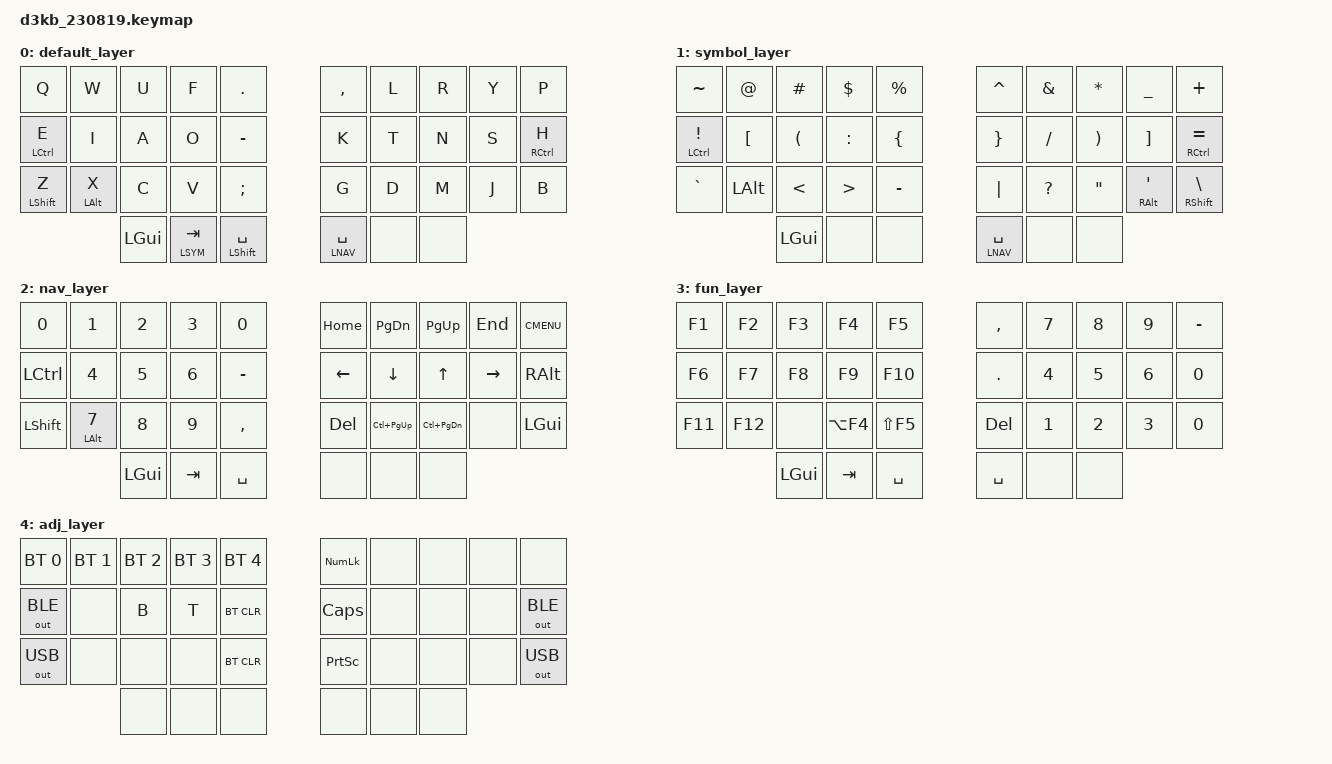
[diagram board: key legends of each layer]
#include <behaviors.dtsi>
#include <dt-bindings/zmk/keys.h>
#include <dt-bindings/zmk/bt.h>
#include <dt-bindings/zmk/outputs.h>

#define LDEF 0
#define LSYM 1
#define LNAV 2
#define LFUN 3
#define LADJ 4

&mt {
    tapping-term-ms = <175>;
    flavor = "tap-preferred";
};

&lt {
    tapping-term-ms = <175>;
    flavor = "balanced";
};


&caps_word {
    continue-list = <UNDERSCORE MINUS BACKSPACE>;
};

/ {
    combos{
        compatible = "zmk,combos";
        timeout-ms = <200>;
        combo_left_thum_r {
            key-positions = <31 32>;
            bindings = <&mo LFUN>;
        };
        combo_left_thum_l {
            key-positions = <30 31>;
            bindings = <&caps_word>;
        };
        combo_left_thum_all {
            key-positions = <30 31 32>;
            bindings = <&sl LADJ>;
        };
        //combo_left_col {
        //    key-positions = <0 10 20>;
        //    bindings = <&sl LADJ>;
        //};
        combo_left_top {
            key-positions = <0 1>;
            bindings = <&kp ESC>;
        };
        combo_left_mid_l {
            key-positions = <11 12>;
            bindings = <&mo LFUN>;
        };
        //combo_left_mid_r {
        //    key-positions = <12 13>;
        //    bindings = <&caps_word>;
        //};
        combo_right_mid_l {
            key-positions = <16 17>;
            bindings = <&kp BSPC>;
        };
        combo_right_mid_r {
            key-positions = <17 18>;
            bindings = <&kp RET>;
        };
    };

    behaviors {
    };

    keymap {
        compatible = "zmk,keymap";

        default_layer {
            bindings = <
                &kp Q       &kp W       &kp U    &kp F         &kp DOT            &kp COMMA      &kp L &kp R     &kp Y      &kp P 
                &mt LCTRL E &kp I       &kp A    &kp O         &kp MINUS          &kp K          &kp T &kp N     &kp S      &mt RCTRL H 
                &mt LSHFT Z &mt LALT X  &kp C    &kp V         &kp SEMI           &kp G          &kp D &kp M     &kp J      &kp B
                                        &kp LGUI &lt LSYM TAB  &mt LSHFT SPACE    &lt LNAV SPACE &none &none 
            >;
        };

        symbol_layer {
            bindings = <
                &kp TILDE       &kp AT        &kp HASH &kp DLLR  &kp PRCNT        &kp CARET      &kp AMPS       &kp ASTRK &kp UNDER    &kp PLUS 
                &mt LCTRL EXCL  &kp LBKT      &kp LPAR &kp COLON &kp LBRC         &kp RBRC       &kp SLASH      &kp RPAR  &kp RBKT     &mt RCTRL EQUAL 
                &kp GRAVE       &kp LALT      &kp LT   &kp GT    &kp MINUS        &kp PIPE       &kp QMARK      &kp DQT   &mt RALT SQT &mt RSHFT BSLH 
                                              &kp LGUI &none     &none            &lt LNAV SPACE &none          &none 
            >;
        };

        nav_layer {
            bindings = <
                &kp N0    &kp N1      &kp N2    &kp N3     &kp N0            &kp HOME    &kp PG_DN     &kp PG_UP     &kp END    &kp K_CMENU
                &kp LCTRL &kp N4      &kp N5    &kp N6     &kp MINUS         &kp LEFT    &kp DOWN      &kp UP        &kp RIGHT  &kp RALT
                &kp LSHFT &mt LALT N7 &kp N8    &kp N9     &kp COMMA         &kp DEL     &kp LC(PG_UP) &kp LC(PG_DN) &none      &kp LGUI
                                      &kp LGUI  &kp TAB    &kp SPACE         &none       &none         &none 
            >;
        };

        fun_layer {
            bindings = <
                &kp F1  &kp F2  &kp F3   &kp F4        &kp F5         &kp COMMA   &kp N7 &kp N8 &kp N9 &kp MINUS
                &kp F6  &kp F7  &kp F8   &kp F9        &kp F10        &kp DOT     &kp N4 &kp N5 &kp N6 &kp N0
                &kp F11 &kp F12 &none    &kp LA(F4)    &kp LS(F5)     &kp DEL     &kp N1 &kp N2 &kp N3 &kp N0
                                &kp LGUI &kp TAB       &kp SPACE      &kp SPACE   &none  &none 
            >;
        };


        adj_layer {
            bindings = <
                &bt  BT_SEL 0    &bt BT_SEL 1 &bt BT_SEL 2 &bt BT_SEL 3 &bt BT_SEL 4         &kp KP_NUM  &none     &none     &none    &none
                &out OUT_BLE     &none        &kp B        &kp T        &bt BT_CLR           &kp CAPS    &none     &none     &none    &out OUT_BLE
                &out OUT_USB     &none        &none        &none        &bt BT_CLR           &kp PSCRN   &none     &none     &none    &out OUT_USB
                                              &none        &none        &none                &none       &none     &none
            >;
        };
        
    };
};

